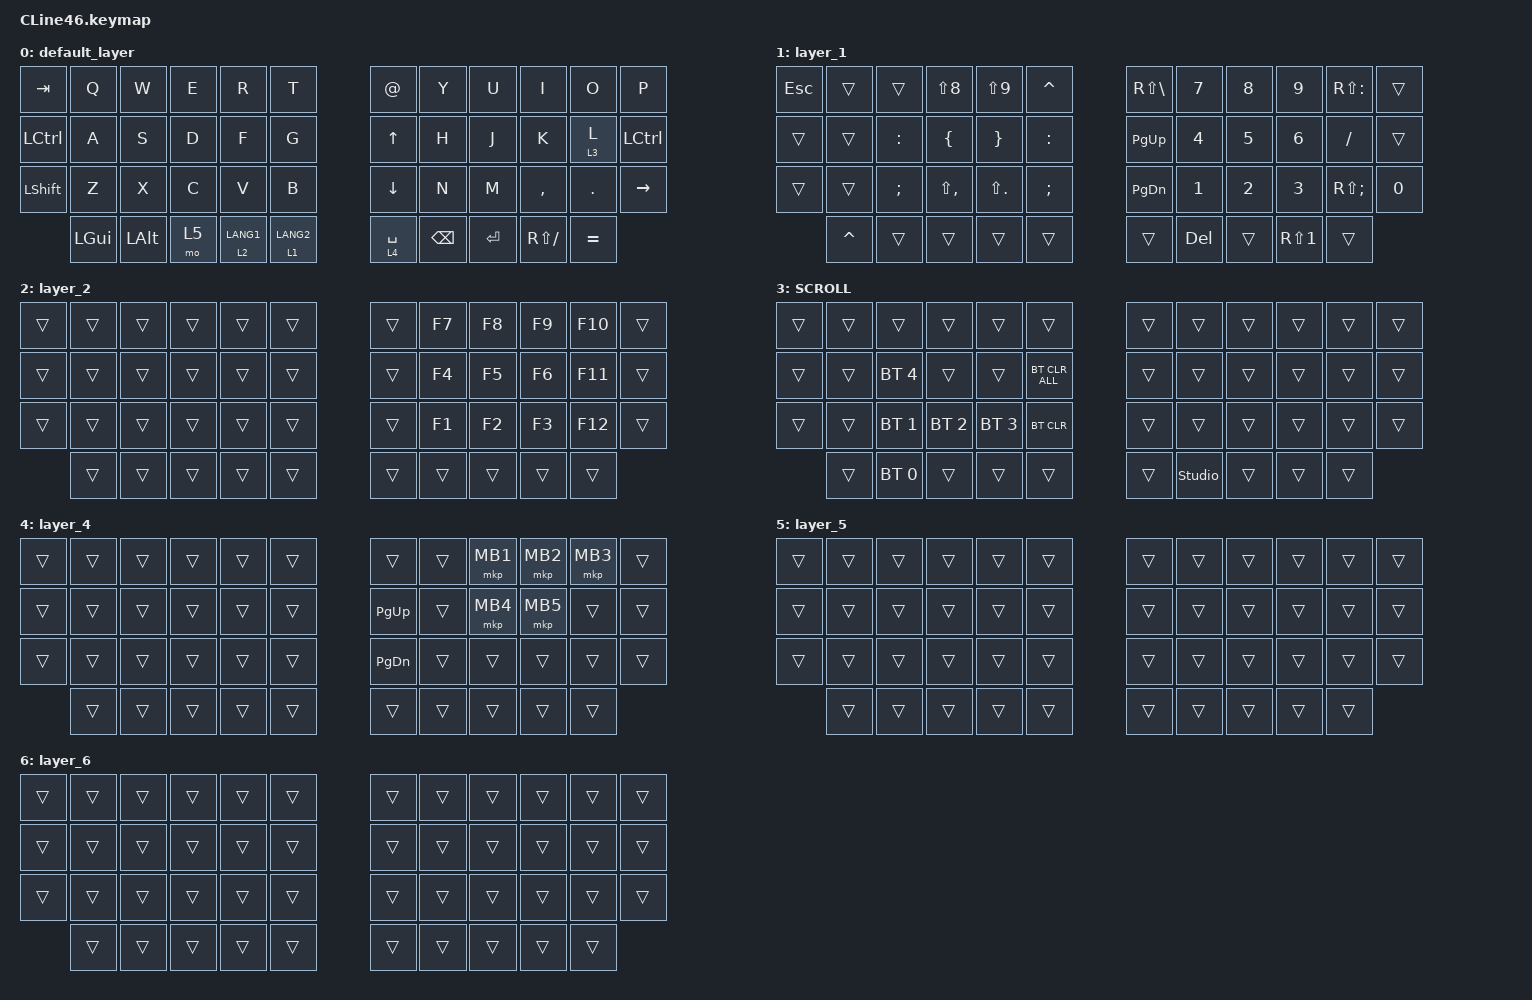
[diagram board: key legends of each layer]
#include <input/processors.dtsi>
#include <dt-bindings/zmk/input_transform.h>
#include <zephyr/dt-bindings/input/input-event-codes.h>
#include <behaviors.dtsi>
#include <dt-bindings/zmk/bt.h>
#include <dt-bindings/zmk/keys.h>
#include <dt-bindings/zmk/pointing.h>

&mt {
    flavor = "balanced";
    quick-tap-ms = <0>;
};

/ {
    combos {
        compatible = "zmk,combos";

        tab {
            bindings = <&kp TAB>;
            key-positions = <11 12>;
        };

        shift_tab {
            bindings = <&kp LS(TAB)>;
            key-positions = <12 13>;
        };
    };

    macros {
        to_layer_0: to_layer_0 {
            compatible = "zmk,behavior-macro-one-param";
            #binding-cells = <1>;
            bindings = <&to 0 &macro_param_1to1 &kp MACRO_PLACEHOLDER>;
            label = "TO_LAYER_0";
        };
    };

    behaviors {
        lt_to_layer_0: lt_to_layer_0 {
            compatible = "zmk,behavior-hold-tap";
            label = "LAYER_TAP_TO_0";
            bindings = <&mo>, <&to_layer_0>;

            #binding-cells = <2>;
            tapping-term-ms = <200>;
        };
    };

    keymap {
        compatible = "zmk,keymap";

        default_layer {
            bindings = <
&kp TAB     &kp Q    &kp W             &kp E     &kp R               &kp T                           &kp AT_SIGN    &kp Y      &kp U  &kp I          &kp O         &kp P          
&kp LCTRL   &kp A    &kp S             &kp D     &kp F               &kp G                           &kp UP_ARROW   &kp H      &kp J  &kp K          &lt 3 L       &kp LEFT_CONTROL
&kp LSHIFT  &kp Z    &kp X             &kp C     &kp V               &kp B                           &kp DOWN_ARROW &kp N      &kp M  &kp COMMA      &kp DOT       &kp RIGHT_ARROW    
            &kp LGUI  &kp LALT  &mo 5   &lt 2 LANG1  &lt 1 LANG2  &lt 4 SPACE    &kp BACKSPACE  &kp ENTER                        &kp RS(SLASH)  &kp EQUAL
            >;
        };

        layer_1 {
            bindings = <
&kp ESC     &trans    &trans        &kp LS(NUMBER_8)    &kp LS(NUMBER_9) &kp CARET                        &kp RS(BACKSLASH)  &kp NUMBER_7  &kp NUMBER_8   &kp NUMBER_9      &kp RS(COLON) &trans
&trans      &trans    &kp COLON     &kp LEFT_BRACE      &kp RIGHT_BRACE  &kp COLON                        &kp PAGE_UP        &kp NUMBER_4  &kp NUMBER_5   &kp NUMBER_6      &kp SLASH     &trans 
&trans      &trans    &kp SEMI      &kp LS(COMMA)       &kp LS(DOT)      &kp SEMI                         &kp PAGE_DOWN      &kp NUMBER_1  &kp NUMBER_2   &kp NUMBER_3      &kp RS(SEMI)  &kp NUMBER_0
            &kp CARET &trans        &trans              &trans           &trans  &trans       &kp DELETE  &trans                                          &kp RS(NUMBER_1)  &trans
            >;
        };

        layer_2 {
            bindings = <
&trans  &trans  &trans  &trans  &trans  &trans                         &trans   &kp F7   &kp F8   &kp F9   &kp F10  &trans
&trans  &trans  &trans  &trans  &trans  &trans                         &trans   &kp F4   &kp F5   &kp F6   &kp F11  &trans
&trans  &trans  &trans  &trans  &trans  &trans                         &trans   &kp F1   &kp F2   &kp F3   &kp F12  &trans
        &trans  &trans  &trans  &trans  &trans   &trans        &trans  &trans                              &trans   &trans
            >;
        };

        SCROLL {
            bindings = <
&trans       &trans  &trans        &trans        &trans        &trans                            &trans  &trans  &trans  &trans  &trans  &trans
&trans       &trans  &bt BT_SEL 4  &trans        &trans        &bt BT_CLR_ALL                    &trans  &trans  &trans  &trans  &trans  &trans
&trans       &trans  &bt BT_SEL 1  &bt BT_SEL 2  &bt BT_SEL 3  &bt BT_CLR                        &trans  &trans  &trans  &trans  &trans  &trans
             &trans  &bt BT_SEL 0  &trans        &trans        &trans  &trans                    &studio_unlock  &trans                  &trans  &trans
            >;
        };

        layer_4 {
            bindings = <
&trans  &trans  &trans        &trans        &trans        &trans                    &trans          &trans  &mkp MB1  &mkp MB2  &mkp MB3  &trans
&trans  &trans  &trans        &trans        &trans        &trans                    &kp PAGE_UP     &trans  &mkp MB4  &mkp MB5  &trans    &trans
&trans  &trans  &trans        &trans        &trans        &trans                    &kp PAGE_DOWN   &trans  &trans    &trans    &trans    &trans
        &trans  &trans        &trans        &trans        &trans  &trans            &trans  &trans                    &trans    &trans
            >;
        };

        layer_5 {
            bindings = <
&trans  &trans  &trans  &trans  &trans  &trans                    &trans  &trans  &trans  &trans  &trans  &trans
&trans  &trans  &trans  &trans  &trans  &trans                    &trans  &trans  &trans  &trans  &trans  &trans
&trans  &trans  &trans  &trans  &trans  &trans                    &trans  &trans  &trans  &trans  &trans  &trans
        &trans  &trans  &trans  &trans  &trans  &trans    &trans  &trans                  &trans  &trans
            >;
        };

        layer_6 {
            bindings = <
&trans  &trans  &trans  &trans  &trans  &trans                    &trans  &trans  &trans  &trans  &trans  &trans
&trans  &trans  &trans  &trans  &trans  &trans                    &trans  &trans  &trans  &trans  &trans  &trans
&trans  &trans  &trans  &trans  &trans  &trans                    &trans  &trans  &trans  &trans  &trans  &trans
        &trans  &trans  &trans  &trans  &trans  &trans    &trans  &trans                  &trans  &trans
            >;
        };
    };
};
